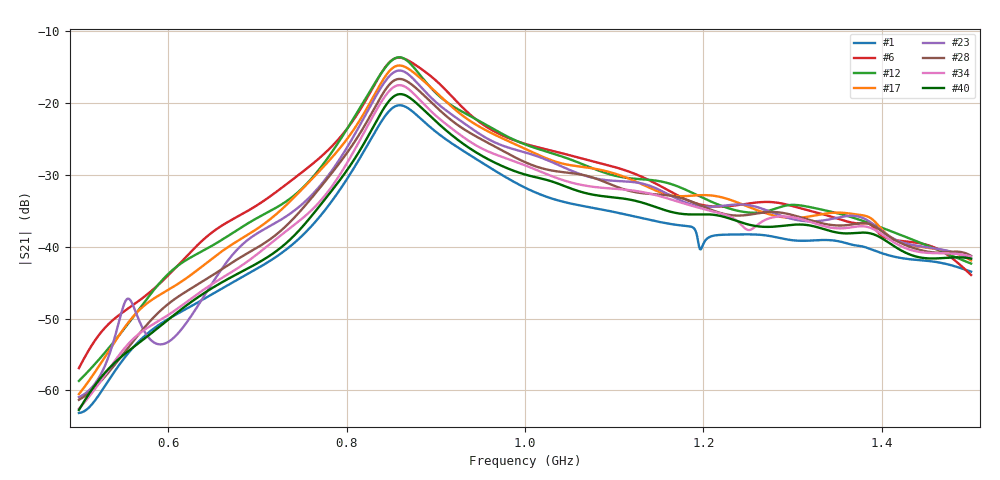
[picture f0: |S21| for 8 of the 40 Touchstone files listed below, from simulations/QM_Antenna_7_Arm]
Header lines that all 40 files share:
! TOUCHSTONE file generated by CST MICROWAVE STUDIO
! Project name: Scenario_1_Circular_Tissue_in_Line.cst
! Header version: 2018
! Port assignment regex: !\s*Touchstone port\s*([0-9]+)\s*=\s*(CST MWS port|CST DS port)\s*([0-9]+|Zmin|Zmax)\s*\(\"(.*)\"\)(\s*mode\s*([0-9]+))?.*
! Touchstone port assignment:
! Touchstone port 1 = CST MWS port 1 ("")
! Touchstone port 2 = CST MWS port 2 ("")
# GHz S DB R 50
Fixed: L_HA = 400, MT = 2.54, Rad_Dielectric = 30, Rad_Lower = 7.3, Rad_Upper = 30, a_HA = 580, a_WG = 246, b_HA = 500, b_WG = 121, c_HA = 0, c_WG = 187, d_feed = 85, h_feed = 15, h_lower = 18, h_upper = 40
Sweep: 500 MHz to 1.5 GHz
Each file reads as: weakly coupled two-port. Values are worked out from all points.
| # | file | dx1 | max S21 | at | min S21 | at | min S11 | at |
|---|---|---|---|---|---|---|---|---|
| 1 | 0_1.s2p | 1039 | -20.32 dB | 860 MHz | -63.1 dB | 500 MHz | -48.2 dB | 1.131 GHz |
| 2 | 0_2.s2p | 190.32 | -13.48 dB | 857 MHz | -56.7 dB | 500 MHz | -41.3 dB | 944 MHz |
| 3 | 0_3.s2p | 207.64 | -13.79 dB | 856 MHz | -56.7 dB | 500 MHz | -38.0 dB | 1.12 GHz |
| 4 | 0_4.s2p | 224.96 | -13.94 dB | 857 MHz | -56.8 dB | 500 MHz | -36.7 dB | 1.109 GHz |
| 5 | 0_5.s2p | 242.28 | -13.93 dB | 857 MHz | -57.4 dB | 509 MHz | -37.6 dB | 1.153 GHz |
| 6 | 0_6.s2p | 259.6 | -13.68 dB | 859 MHz | -56.9 dB | 500 MHz | -32.1 dB | 1.147 GHz |
| 7 | 0_7.s2p | 276.92 | -13.54 dB | 860 MHz | -57.0 dB | 500 MHz | -29.7 dB | 900 MHz |
| 8 | 0_8.s2p | 294.24 | -13.40 dB | 860 MHz | -57.3 dB | 500 MHz | -33.0 dB | 891 MHz |
| 9 | 0_9.s2p | 311.56 | -13.29 dB | 860 MHz | -57.4 dB | 500 MHz | -42.8 dB | 881 MHz |
| 10 | 0_10.s2p | 328.88 | -13.33 dB | 861 MHz | -57.8 dB | 500 MHz | -39.1 dB | 873 MHz |
| 11 | 0_11.s2p | 346.2 | -13.47 dB | 863 MHz | -58.3 dB | 500 MHz | -41.4 dB | 1.122 GHz |
| 12 | 0_12.s2p | 363.52 | -13.63 dB | 859 MHz | -58.7 dB | 500 MHz | -44.0 dB | 938 MHz |
| 13 | 0_13.s2p | 380.84 | -13.93 dB | 859 MHz | -59.2 dB | 500 MHz | -44.2 dB | 1.154 GHz |
| 14 | 0_14.s2p | 398.16 | -14.24 dB | 859 MHz | -59.6 dB | 500 MHz | -33.4 dB | 923 MHz |
| 15 | 0_15.s2p | 415.48 | -14.51 dB | 858 MHz | -59.9 dB | 500 MHz | -30.3 dB | 916 MHz |
| 16 | 0_16.s2p | 432.8 | -14.65 dB | 858 MHz | -60.3 dB | 500 MHz | -30.5 dB | 909 MHz |
| 17 | 0_17.s2p | 450.12 | -14.78 dB | 859 MHz | -60.5 dB | 500 MHz | -31.9 dB | 902 MHz |
| 18 | 0_18.s2p | 467.44 | -14.87 dB | 859 MHz | -60.7 dB | 500 MHz | -35.7 dB | 895 MHz |
| 19 | 0_19.s2p | 484.76 | -14.82 dB | 860 MHz | -60.9 dB | 500 MHz | -50.5 dB | 888 MHz |
| 20 | 0_20.s2p | 502.08 | -14.95 dB | 859 MHz | -60.9 dB | 500 MHz | -44.2 dB | 1.118 GHz |
| 21 | 0_21.s2p | 519.4 | -15.01 dB | 860 MHz | -61.0 dB | 500 MHz | -39.4 dB | 943 MHz |
| 22 | 0_22.s2p | 536.72 | -15.25 dB | 860 MHz | -60.9 dB | 500 MHz | -55.1 dB | 935 MHz |
| 23 | 0_23.s2p | 554.04 | -15.48 dB | 859 MHz | -60.9 dB | 500 MHz | -41.5 dB | 928 MHz |
| 24 | 0_24.s2p | 571.36 | -15.76 dB | 859 MHz | -60.9 dB | 500 MHz | -38.0 dB | 923 MHz |
| 25 | 0_25.s2p | 588.68 | -16.03 dB | 859 MHz | -61.0 dB | 503 MHz | -34.7 dB | 916 MHz |
| 26 | 0_26.s2p | 606 | -16.31 dB | 859 MHz | -61.0 dB | 500 MHz | -35.4 dB | 910 MHz |
| 27 | 0_27.s2p | 623.32 | -16.47 dB | 860 MHz | -61.1 dB | 500 MHz | -39.9 dB | 1.125 GHz |
| 28 | 0_28.s2p | 640.64 | -16.65 dB | 859 MHz | -61.3 dB | 500 MHz | -46.6 dB | 1.121 GHz |
| 29 | 0_29.s2p | 657.96 | -16.75 dB | 860 MHz | -61.5 dB | 500 MHz | -49.3 dB | 1.151 GHz |
| 30 | 0_30.s2p | 675.28 | -16.89 dB | 860 MHz | -61.7 dB | 500 MHz | -34.6 dB | 886 MHz |
| 31 | 0_31.s2p | 692.6 | -16.97 dB | 861 MHz | -61.9 dB | 500 MHz | -35.0 dB | 938 MHz |
| 32 | 0_32.s2p | 709.92 | -17.10 dB | 860 MHz | -62.2 dB | 500 MHz | -42.3 dB | 931 MHz |
| 33 | 0_33.s2p | 727.24 | -17.32 dB | 860 MHz | -62.4 dB | 500 MHz | -66.6 dB | 925 MHz |
| 34 | 0_34.s2p | 744.56 | -17.52 dB | 859 MHz | -62.5 dB | 500 MHz | -46.5 dB | 919 MHz |
| 35 | 0_35.s2p | 761.88 | -17.77 dB | 859 MHz | -62.7 dB | 500 MHz | -41.2 dB | 1.128 GHz |
| 36 | 0_36.s2p | 779.2 | -18.04 dB | 859 MHz | -62.8 dB | 500 MHz | -61.9 dB | 902 MHz |
| 37 | 0_37.s2p | 796.52 | -18.28 dB | 859 MHz | -62.8 dB | 500 MHz | -53.9 dB | 1.146 GHz |
| 38 | 0_38.s2p | 813.84 | -18.49 dB | 860 MHz | -62.8 dB | 500 MHz | -50.9 dB | 900 MHz |
| 39 | 0_39.s2p | 831.16 | -18.61 dB | 860 MHz | -62.7 dB | 500 MHz | -37.5 dB | 896 MHz |
| 40 | 0_40.s2p | 848.48 | -18.76 dB | 860 MHz | -62.7 dB | 500 MHz | -32.6 dB | 890 MHz |
